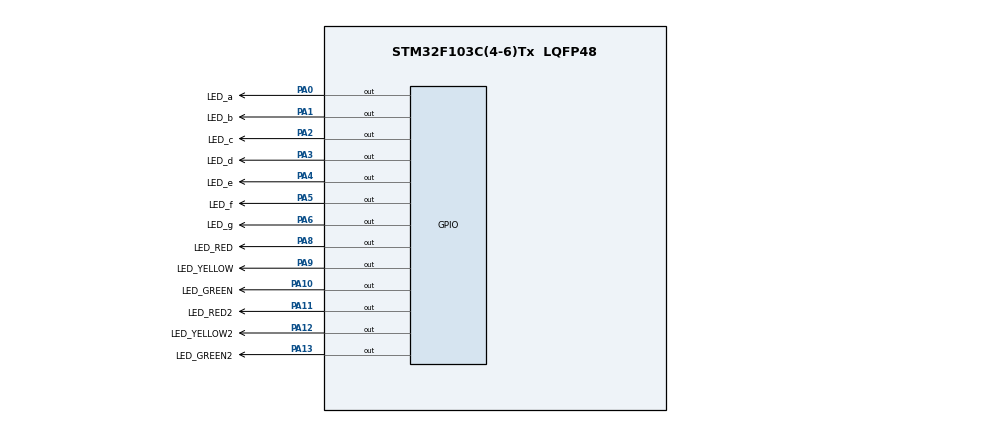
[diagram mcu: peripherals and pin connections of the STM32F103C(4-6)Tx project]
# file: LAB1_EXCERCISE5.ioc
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Mcu.Family=STM32F1
Mcu.Name=STM32F103C(4-6)Tx
Mcu.Package=LQFP48
NVIC.PriorityGroup=NVIC_PRIORITYGROUP_4
PA0-WKUP.GPIO_Label=LED_a
PA0-WKUP.Signal=GPIO_Output
PA1.GPIO_Label=LED_b
PA1.Signal=GPIO_Output
PA10.GPIO_Label=LED_GREEN
PA10.Signal=GPIO_Output
PA11.GPIO_Label=LED_RED2
PA11.Signal=GPIO_Output
PA12.GPIO_Label=LED_YELLOW2
PA12.Signal=GPIO_Output
PA13.GPIO_Label=LED_GREEN2
PA13.Signal=GPIO_Output
PA2.GPIO_Label=LED_c
PA2.Signal=GPIO_Output
PA3.GPIO_Label=LED_d
PA3.Signal=GPIO_Output
PA4.GPIO_Label=LED_e
PA4.Signal=GPIO_Output
PA5.GPIO_Label=LED_f
PA5.Signal=GPIO_Output
PA6.GPIO_Label=LED_g
PA6.Signal=GPIO_Output
PA8.GPIO_Label=LED_RED
PA8.Signal=GPIO_Output
PA9.GPIO_Label=LED_YELLOW
PA9.Signal=GPIO_Output
ProjectManager.HeapSize=0x200
ProjectManager.StackSize=0x400
ProjectManager.TargetToolchain=STM32CubeIDE
RCC.APB1Freq_Value=8000000
RCC.APB2Freq_Value=8000000
VP_SYS_VS_ND.Mode=No_Debug
board=custom

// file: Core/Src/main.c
/* USER CODE BEGIN Header */
/**
  ******************************************************************************
  * @file           : main.c
  * @brief          : Main program body
  ******************************************************************************
  * @attention
  *
  * <h2><center>&copy; Copyright (c) 2025 STMicroelectronics.
  * All rights reserved.</center></h2>
  *
  * This software component is licensed by ST under BSD 3-Clause license,
  * the "License"; You may not use this file except in compliance with the
  * License. You may obtain a copy of the License at:
  *                        opensource.org/licenses/BSD-3-Clause
  *
  ******************************************************************************
  */
/* USER CODE END Header */
#include "main.h"

void SystemClock_Config(void);
static void MX_GPIO_Init(void);

/* USER CODE BEGIN 0 */
void display7SEG(int num){
	char led7segm[10]={0xC0, 0xF9, 0xA4, 0xB0, 0x99, 0x92, 0x82, 0xF8, 0x80, 0x90};
	for(int i=0;i<7;i++){
		HAL_GPIO_WritePin(GPIOA, LED_a_Pin<<i,(led7segm[num]>>i)&1);
	}
}

void trafficLightTick(int counter) {
    int t = counter % 10;
    int remain;

    if (t < 3) {
        //1
        HAL_GPIO_WritePin(LED_RED_GPIO_Port,    LED_RED_Pin,    GPIO_PIN_SET);
        HAL_GPIO_WritePin(LED_YELLOW_GPIO_Port, LED_YELLOW_Pin, GPIO_PIN_SET);
        HAL_GPIO_WritePin(LED_GREEN_GPIO_Port,  LED_GREEN_Pin,  GPIO_PIN_RESET);

        HAL_GPIO_WritePin(LED_RED2_GPIO_Port,   LED_RED2_Pin,   GPIO_PIN_RESET);
        HAL_GPIO_WritePin(LED_YELLOW2_GPIO_Port,LED_YELLOW2_Pin,GPIO_PIN_SET);
        HAL_GPIO_WritePin(LED_GREEN2_GPIO_Port, LED_GREEN2_Pin, GPIO_PIN_SET);

        remain = 3 - t;
    }
    else if (t < 5) {
        // 2
        HAL_GPIO_WritePin(LED_RED_GPIO_Port,    LED_RED_Pin,    GPIO_PIN_SET);
        HAL_GPIO_WritePin(LED_YELLOW_GPIO_Port, LED_YELLOW_Pin, GPIO_PIN_RESET);
        HAL_GPIO_WritePin(LED_GREEN_GPIO_Port,  LED_GREEN_Pin,  GPIO_PIN_SET);

        HAL_GPIO_WritePin(LED_RED2_GPIO_Port,   LED_RED2_Pin,   GPIO_PIN_RESET);
        HAL_GPIO_WritePin(LED_YELLOW2_GPIO_Port,LED_YELLOW2_Pin,GPIO_PIN_SET);
        HAL_GPIO_WritePin(LED_GREEN2_GPIO_Port, LED_GREEN2_Pin, GPIO_PIN_SET);

        remain = 5 - t;
    }
    else if (t < 8) {
        // 3
        HAL_GPIO_WritePin(LED_RED_GPIO_Port,    LED_RED_Pin,    GPIO_PIN_RESET);
        HAL_GPIO_WritePin(LED_YELLOW_GPIO_Port, LED_YELLOW_Pin, GPIO_PIN_SET);
        HAL_GPIO_WritePin(LED_GREEN_GPIO_Port,  LED_GREEN_Pin,  GPIO_PIN_SET);

        HAL_GPIO_WritePin(LED_RED2_GPIO_Port,   LED_RED2_Pin,   GPIO_PIN_SET);
        HAL_GPIO_WritePin(LED_YELLOW2_GPIO_Port,LED_YELLOW2_Pin,GPIO_PIN_SET);
        HAL_GPIO_WritePin(LED_GREEN2_GPIO_Port, LED_GREEN2_Pin, GPIO_PIN_RESET);

        remain = 8 - t;
        //
        remain = remain + 2;
    }
    else {
        // 4
        HAL_GPIO_WritePin(LED_RED_GPIO_Port,    LED_RED_Pin,    GPIO_PIN_RESET);
        HAL_GPIO_WritePin(LED_YELLOW_GPIO_Port, LED_YELLOW_Pin, GPIO_PIN_SET);
        HAL_GPIO_WritePin(LED_GREEN_GPIO_Port,  LED_GREEN_Pin,  GPIO_PIN_SET);

        HAL_GPIO_WritePin(LED_RED2_GPIO_Port,   LED_RED2_Pin,   GPIO_PIN_SET);
        HAL_GPIO_WritePin(LED_YELLOW2_GPIO_Port,LED_YELLOW2_Pin,GPIO_PIN_RESET);
        HAL_GPIO_WritePin(LED_GREEN2_GPIO_Port, LED_GREEN2_Pin, GPIO_PIN_SET);

        //
        remain = 10 - t;
    }

    display7SEG(remain);
}

/* USER CODE END 0 */

int main(void)
{

  /* MCU Configuration--------------------------------------------------------*/

  /* Reset of all peripherals, Initializes the Flash interface and the Systick. */
  HAL_Init();

  /* Configure the system clock */
  SystemClock_Config();

  /* Initialize all configured peripherals */
  MX_GPIO_Init();
  /* USER CODE BEGIN 2 */
int counter=0;
  /* USER CODE END 2 */

  /* Infinite loop */
  while (1)
  {
	  	  trafficLightTick(counter);
	      counter = (counter + 1) % 10;
	      HAL_Delay(1000);
  }
}

void SystemClock_Config(void)
{
  RCC_OscInitTypeDef RCC_OscInitStruct = {0};
  RCC_ClkInitTypeDef RCC_ClkInitStruct = {0};

  /** Initializes the RCC Oscillators according to the specified parameters
  * in the RCC_OscInitTypeDef structure.
  */
  RCC_OscInitStruct.OscillatorType = RCC_OSCILLATORTYPE_HSI;
  RCC_OscInitStruct.HSIState = RCC_HSI_ON;
  RCC_OscInitStruct.HSICalibrationValue = RCC_HSICALIBRATION_DEFAULT;
  RCC_OscInitStruct.PLL.PLLState = RCC_PLL_NONE;
  if (HAL_RCC_OscConfig(&RCC_OscInitStruct) != HAL_OK)
  {
    Error_Handler();
  }
  /** Initializes the CPU, AHB and APB buses clocks
  */
  RCC_ClkInitStruct.ClockType = RCC_CLOCKTYPE_HCLK|RCC_CLOCKTYPE_SYSCLK
                              |RCC_CLOCKTYPE_PCLK1|RCC_CLOCKTYPE_PCLK2;
  RCC_ClkInitStruct.SYSCLKSource = RCC_SYSCLKSOURCE_HSI;
  RCC_ClkInitStruct.AHBCLKDivider = RCC_SYSCLK_DIV1;
  RCC_ClkInitStruct.APB1CLKDivider = RCC_HCLK_DIV1;
  RCC_ClkInitStruct.APB2CLKDivider = RCC_HCLK_DIV1;

  if (HAL_RCC_ClockConfig(&RCC_ClkInitStruct, FLASH_LATENCY_0) != HAL_OK)
  {
    Error_Handler();
  }
}

static void MX_GPIO_Init(void)
{
  GPIO_InitTypeDef GPIO_InitStruct = {0};

  /* GPIO Ports Clock Enable */
  __HAL_RCC_GPIOA_CLK_ENABLE();

  /*Configure GPIO pin Output Level */
  HAL_GPIO_WritePin(GPIOA, LED_a_Pin|LED_b_Pin|LED_c_Pin|LED_d_Pin
                          |LED_e_Pin|LED_f_Pin|LED_g_Pin|LED_RED_Pin
                          |LED_YELLOW_Pin|LED_GREEN_Pin|LED_RED2_Pin|LED_YELLOW2_Pin
                          |LED_GREEN2_Pin, GPIO_PIN_RESET);

  /*Configure GPIO pins : LED_a_Pin LED_b_Pin LED_c_Pin LED_d_Pin
                           LED_e_Pin LED_f_Pin LED_g_Pin LED_RED_Pin
                           LED_YELLOW_Pin LED_GREEN_Pin LED_RED2_Pin LED_YELLOW2_Pin
                           LED_GREEN2_Pin */
  GPIO_InitStruct.Pin = LED_a_Pin|LED_b_Pin|LED_c_Pin|LED_d_Pin
                          |LED_e_Pin|LED_f_Pin|LED_g_Pin|LED_RED_Pin
                          |LED_YELLOW_Pin|LED_GREEN_Pin|LED_RED2_Pin|LED_YELLOW2_Pin
                          |LED_GREEN2_Pin;
  GPIO_InitStruct.Mode = GPIO_MODE_OUTPUT_PP;
  GPIO_InitStruct.Pull = GPIO_NOPULL;
  GPIO_InitStruct.Speed = GPIO_SPEED_FREQ_LOW;
  HAL_GPIO_Init(GPIOA, &GPIO_InitStruct);

}

void Error_Handler(void)
{
  __disable_irq();
  while (1)
  {
  }
}

/************************ (C) COPYRIGHT STMicroelectronics *****END OF FILE****/
